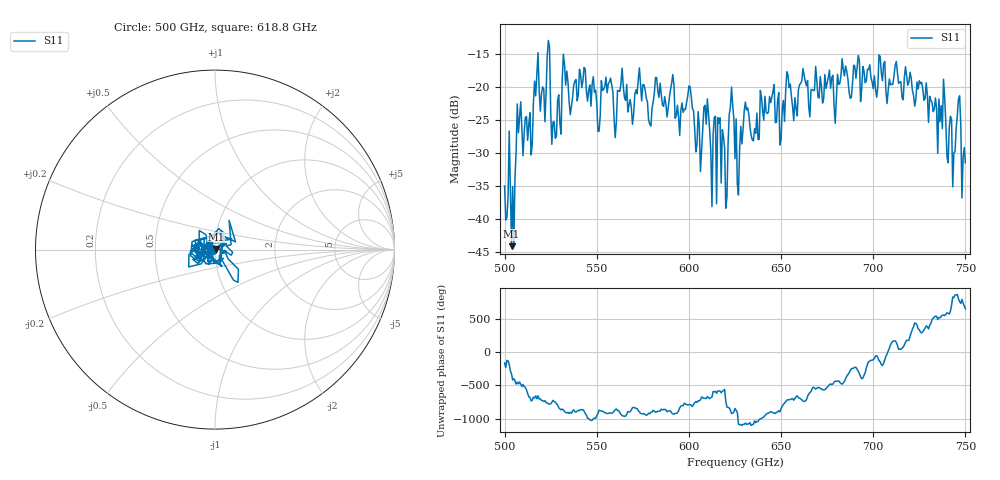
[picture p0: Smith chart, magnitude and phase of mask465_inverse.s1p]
!Created with skrf (http://scikit-rf.org).
# GHz S MA R 50.0
!freq magS11 angS11
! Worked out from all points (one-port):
!   401 points, 500 GHz to 750 GHz, reference 50 ohm
!   lowest |S11| = -44.1 dB at 503.8 GHz (marker M1), VSWR 1.01, Z = 50.5 + j0.336 ohm
!   |S11| at or under -10 dB: start of sweep to end of sweep
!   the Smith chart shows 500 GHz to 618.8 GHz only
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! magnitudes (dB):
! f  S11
! 500 GHz  -35.0
! 503.8 GHz  -44.1
! 505 GHz  -43.8
! 507.5 GHz  -27.0
! 513.8 GHz  -23.9
! 517.5 GHz  -18.3
! 520.6 GHz  -20.0
! 523.8 GHz  -13.0
! 526.9 GHz  -25.3
! 531.2 GHz  -19.0
! 542.5 GHz  -19.1
! 550.6 GHz  -26.8
! 562.5 GHz  -20.7
! 578.8 GHz  -25.7
! 590.6 GHz  -19.5
! 593.8 GHz  -22.8
! 600.6 GHz  -20.0
! 605.6 GHz  -26.0
! 609.4 GHz  -25.7
! 620 GHz  -38.3
! 623.1 GHz  -20.1
! 625 GHz  -30.9
! 656.2 GHz  -23.0
! 687.5 GHz  -21.8
! 718.8 GHz  -19.8
! 743.8 GHz  -30.0
! 746.2 GHz  -21.9
! 750 GHz  -31.5
